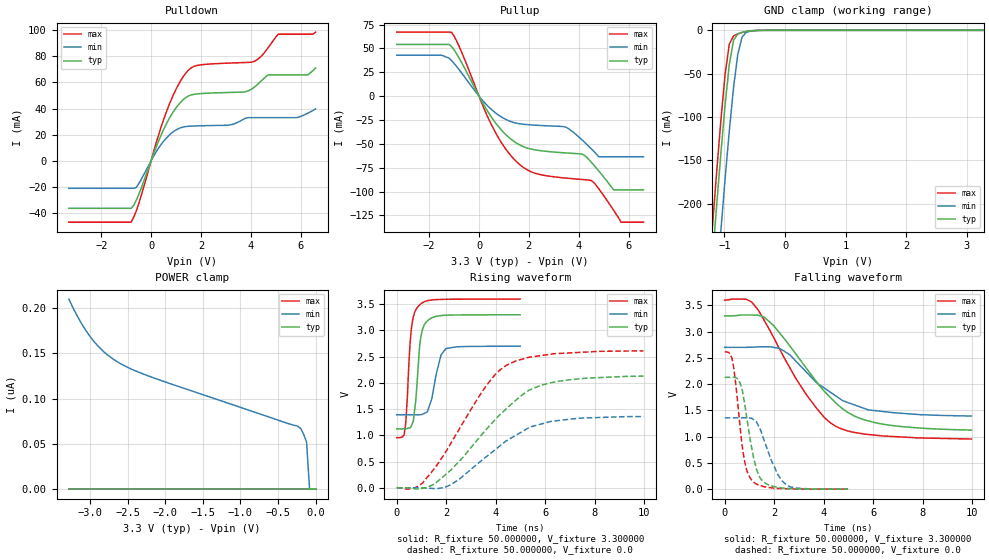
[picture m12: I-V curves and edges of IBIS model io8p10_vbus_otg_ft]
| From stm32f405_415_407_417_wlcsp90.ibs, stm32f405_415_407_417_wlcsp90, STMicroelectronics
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|   Model io8p10_vbus_otg_ft
[Model]  io8p10_vbus_otg_ft
Model_type I/O
Polarity   Non-Inverting
Enable   Active-Low
Vinl =   0.990000V
Vinh =   2.310000V
Vmeas =  1.650000V
Cref =   40.000000pF
Rref =   100.000000M
Vref =   0.0V
C_comp   3.304800pF   3.199300pF   3.429300pF
[Temperature Range]   25.000000   0.125000k   -40.000000
[Pullup Reference]   3.300000V   2.700000V   3.600000V
[Pulldown Reference]   0.0V   0.0V   0.0V
[POWER Clamp Reference]   3.300000V   2.700000V   3.600000V
[GND Clamp Reference]   0.0V   0.0V   0.0V
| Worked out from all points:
|   slope of the pulldown table from 0 to 0.495 V, typ, clamps not added: 20.9 ohm
|   slope of the pullup table from 0 to 0.495 V, typ, clamps not added: 22.6 ohm
|   GND clamp passes 1 mA (typ) near -0.61 V on its own axis
|   rising waveform, R_fixture 50.000000, V_fixture 3.300000: 20-80 % time 227ps typ, 354ps min, 207ps max; typ from 1.12 V to 3.3 V
|   rising waveform, R_fixture 50.000000, V_fixture 0.0: 20-80 % time 2.54ns typ, 2.33ns min, 2.1ns max; typ from 0 V to 2.13 V
|   falling waveform, R_fixture 50.000000, V_fixture 3.300000: 20-80 % time 2.29ns typ, 2.07ns min, 2.05ns max; typ from 3.3 V to 1.12 V
|   falling waveform, R_fixture 50.000000, V_fixture 0.0: 20-80 % time 481ps typ, 677ps min, 388ps max; typ from 2.13 V to 0 V
[Pulldown]
|Voltage   I(typ)   I(min)   I(max)
-3.3V     -36.41mA   -21.08mA   -47.04mA
-800mV    -36.41mA   -21.08mA   -47.04mA
-600mV    -30.48mA   -20.53mA   -38.65mA
700mV     31.4mA     19.11mA    41.71mA
1.2V      45.15mA    25.37mA    61.75mA
1.6V      50.35mA    26.5mA     71.06mA
3.1V      52.28mA    27.26mA    74.76mA
4.1V      55.7mA     33mA       75.81mA
4.7V      65.72mA    33mA       86.7mA
5.1V      65.72mA    33mA       96.91mA
6.3V      65.88mA    36.51mA    96.91mA
6.6V      70.94mA    39.72mA    98.51mA
[Pullup]
|Voltage   I(typ)   I(min)   I(max)
-3.3V     54.23mA    42.91mA    67.18mA
-1.1V     51.99mA    37.29mA    66.9mA
500mV     -22.07mA   -14mA      -30.03mA
1.5V      -49.1mA    -28.3mA    -68.56mA
2.2V      -56.05mA   -30.32mA   -80.35mA
3.5V      -59.53mA   -32.66mA   -85.92mA
4.2V      -61.44mA   -47.49mA   -87.46mA
4.5V      -69.06mA   -55.13mA   -88.4mA
4.8V      -78.23mA   -63.5mA    -96.84mA
5.4V      -98.2mA    -63.5mA    -119.6mA
5.7V      -98.2mA    -63.5mA    -132.1mA
6.6V      -98.2mA    -63.5mA    -132.1mA
[GND_clamp]
|Voltage   I(typ)   I(min)   I(max)
-3.3V     -2.321A    -2.399A    -2.294A
-1.2V     -265.6mA   -356.2mA   -227.3mA
-1.13V    -202.8mA   -293mA     -164.3mA
-1.06V    -142.3mA   -231.2mA   -104.3mA
-990mV    -86.15mA   -171.7mA   -51mA
-920mV    -39.05mA   -115.6mA   -15.71mA
-850mV    -11.4mA    -65.74mA   -6.366mA
-780mV    -4.046mA   -27.6mA    -4.153mA
-710mV    -2.285mA   -7.882mA   -2.591mA
-640mV    -1.291mA   -2.274mA   -1.367mA
-570mV    -618uA     -909.9uA   -567.3uA
3.28V     0A         0A         0A
[POWER_clamp]
|Voltage   I(typ)   I(min)   I(max)
-3.28V    0A         210.1nA    0A
-3.12V    0A         184.2nA    0A
-2.96V    0A         164.6nA    0A
-2.8V     0A         150.7nA    0A
-2.6V     0A         139nA      0A
-2.16V    0A         123.2nA    0A
-240mV    0A         69.7nA     0A
-200mV    0A         67.32nA    0A
-160mV    0A         60.72nA    0A
-120mV    0A         52.23nA    0A
-80mV     0A         0A         0A
0V        0A         0A         0A
[Ramp]
| variable   typ   min   max
dV/dt_r  1.26720/2.53271n   0.81126/2.32826n   1.56498/2.10284n
dV/dt_f  1.28280/2.27103n   0.77700/2.06011n   1.57493/2.04558n
R_load = 50.000000
[Rising Waveform]
R_fixture= 50.000000
V_fixture= 3.300000
V_fixture_min= 2.700000
V_fixture_max= 3.600000
|time   V(typ)   V(min)   V(max)
0s        1.124V     1.392V     954.4mV
300.3ps   1.126V     1.392V     1.025V
370.4ps   1.127V     1.392V     1.281V
580.6ps   1.173V     1.392V     2.99V
670.7ps   1.281V     1.391V     3.259V
850.9ps   2.211V     1.393V     3.451V
940.9ps   2.773V     1.394V     3.494V
1.111ns   3.108V     1.418V     3.548V
1.992ns   3.29V      2.655V     3.595V
4.985ns   3.3V       2.7V       3.599V
[Rising Waveform]
R_fixture= 50.000000
V_fixture= 0.0
V_fixture_min= 0.0
V_fixture_max= 0.0
|time   V(typ)   V(min)   V(max)
0s        344.1uV    194.8uV    668.7uV
460.5ps   -2.447mV   135.8uV    -26.62mV
1.041ns   -9.925mV   -1.886mV   90.32mV
1.522ns   71.01mV    -16.2mV    367.1mV
2.142ns   321.5mV    47.41mV    812.7mV
3.604ns   1.107V     586.6mV    1.936V
4.444ns   1.514V     899.1mV    2.338V
5.205ns   1.82V      1.109V     2.471V
6.166ns   1.996V     1.257V     2.544V
9.97ns    2.129V     1.359V     2.612V
[Falling Waveform]
R_fixture= 50.000000
V_fixture= 3.300000
V_fixture_min= 2.700000
V_fixture_max= 3.600000
|time   V(typ)   V(min)   V(max)
0s        3.3V       2.7V       3.599V
1.081ns   3.315V     2.702V     3.566V
1.602ns   3.273V     2.711V     3.209V
2.242ns   2.96V      2.675V     2.646V
3.303ns   2.3V       2.227V     1.798V
4.004ns   1.876V     1.932V     1.376V
4.464ns   1.654V     1.783V     1.204V
5.265ns   1.386V     1.6V       1.078V
6.226ns   1.251V     1.487V     1.021V
9.97ns    1.124V     1.392V     954.4mV
[Falling Waveform]
R_fixture= 50.000000
V_fixture= 0.0
V_fixture_min= 0.0
V_fixture_max= 0.0
|time   V(typ)   V(min)   V(max)
0s        2.129V     1.359V     2.612V
300.3ps   2.13V      1.359V     2.479V
460.5ps   2.118V     1.358V     1.944V
620.6ps   2.02V      1.358V     1.193V
850.9ps   1.492V     1.36V      432.8mV
1.111ns   736.9mV    1.343V     162.9mV
1.491ns   176.8mV    1.07V      61.14mV
2.142ns   35.36mV    283.9mV    13.96mV
2.452ns   17.46mV    97.89mV    9.223mV
4.985ns   344.1uV    194.8uV    668.7uV
